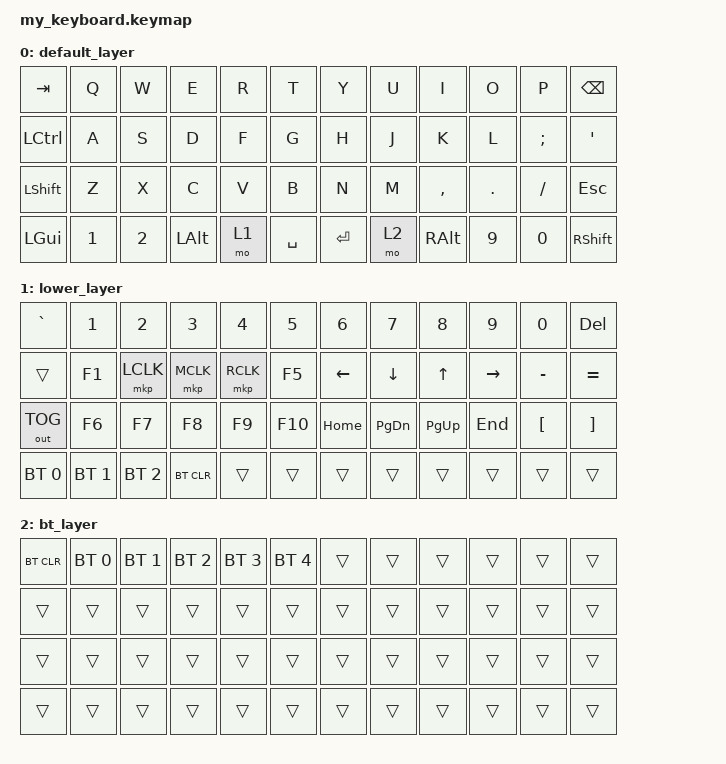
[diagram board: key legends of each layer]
#include <behaviors.dtsi>
#include <dt-bindings/zmk/keys.h>
#include <dt-bindings/zmk/bt.h>
#include <dt-bindings/zmk/outputs.h>
#include <dt-bindings/zmk/pointing.h>

/ {
    keymap {
        compatible = "zmk,keymap";

        default_layer {
            bindings = <
&kp TAB   &kp Q  &kp W  &kp E    &kp R     &kp T        &kp Y      &kp U     &kp I     &kp O   &kp P    &kp BSPC
&kp LCTRL &kp A  &kp S  &kp D    &kp F     &kp G        &kp H      &kp J     &kp K     &kp L   &kp SEMI &kp SQT
&kp LSHFT &kp Z  &kp X  &kp C    &kp V     &kp B        &kp N      &kp M     &kp COMMA &kp DOT &kp FSLH &kp ESC
&kp LGUI  &kp N1 &kp N2 &kp LALT &mo 1     &kp SPACE    &kp RET    &mo 2     &kp RALT  &kp N9  &kp N0   &kp RSHFT
            >;
        };

        /* SW23 (&mo 1) を押している間 */
        lower_layer {
            bindings = <
&kp GRAVE    &kp N1       &kp N2       &kp N3       &kp N4       &kp N5        &kp N6    &kp N7    &kp N8    &kp N9    &kp N0    &kp DEL
&trans       &kp F1       &mkp LCLK    &mkp MCLK    &mkp RCLK    &kp F5        &kp LEFT  &kp DOWN  &kp UP    &kp RIGHT &kp MINUS &kp EQUAL
&out OUT_TOG &kp F6       &kp F7       &kp F8       &kp F9       &kp F10       &kp HOME  &kp PG_DN &kp PG_UP &kp END   &kp LBKT  &kp RBKT
&bt BT_SEL 0 &bt BT_SEL 1 &bt BT_SEL 2 &bt BT_CLR   &trans       &trans        &trans    &trans    &trans    &trans    &trans    &trans
            >;
        };

        bt_layer {
            bindings = <
&bt BT_CLR &bt BT_SEL 0 &bt BT_SEL 1 &bt BT_SEL 2 &bt BT_SEL 3 &bt BT_SEL 4   &trans &trans &trans &trans &trans &trans
&trans     &trans       &trans       &trans       &trans       &trans         &trans &trans &trans &trans &trans &trans
&trans     &trans       &trans       &trans       &trans       &trans         &trans &trans &trans &trans &trans &trans
&trans     &trans       &trans       &trans       &trans       &trans         &trans &trans &trans &trans &trans &trans
            >;
        };
    };
};
